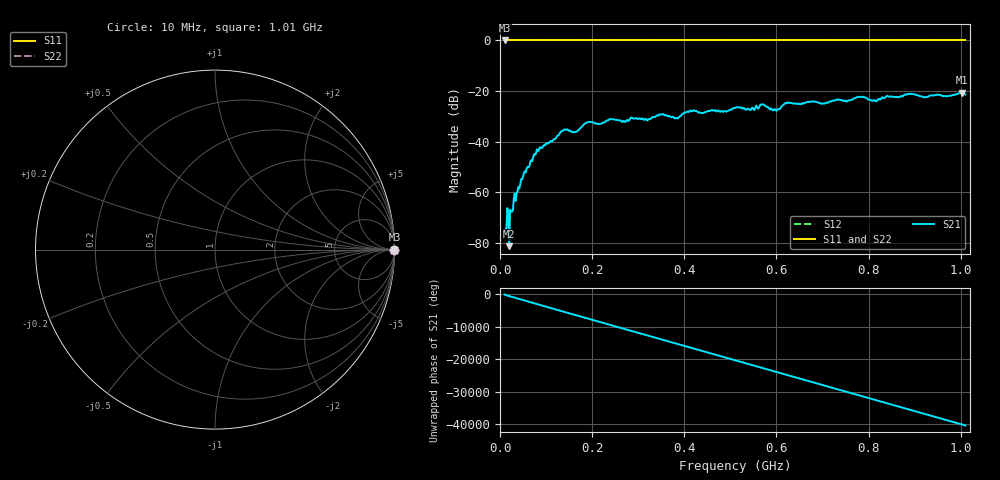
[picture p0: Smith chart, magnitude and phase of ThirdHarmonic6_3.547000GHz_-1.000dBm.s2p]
! 8/17/2025 11:41:56 AM
! C:\ANRITSUVNA\TEMP\TEMP.S2P
! CHANNEL.1
! TR.MEASUREMENT
! RAW.DATA
! RF.CORRECTION.OFF
! AVERAGING.OFF
! IF.BANDWIDTH: 5KHZ
! SWEEPTYPE:  FREQ.SWEEP(Linear)
! Reference Plane Port Info
! PORT:  PORT1  PORT2
! DISTANCE:  0  m  0  m
! TIME:  0  s  0  s
! PHASE.OFFSET:  0  deg.  0  deg.
! LOSS:  0  dB  0  dB
! REF.LOSS:  0  dB  0  dB
! REF.FREQ:  0  Hz  0  Hz
! Power Info
! POWER:  -20  dBm  -20  dBm
! EFF.POWER:  -20  dBm  -20  dBm
! SOURCE.ATTEN:  0  dB  0  dB
! TEST.ATTEN:  0  dB  0  dB
# GHZ S RI R 50.0
! FREQ.GHZ  S11RE  S11IM  S21RE  S21IM  S12RE  S12IM  S22RE  S22IM
!; PortSelection: Port_12
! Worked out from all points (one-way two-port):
!   501 points, 10 MHz to 1.01 GHz, reference 50 ohm
!   highest |S21| = -20.60 dB at 1.002 GHz (marker M1); lowest = -81.2 dB at 20 MHz (marker M2)
!   lowest |S11| = 0.0 dB at 10 MHz (marker M3)
!   |S11| at or under -10 dB: nowhere
!   |S22| runs from 0.0 to 0.0 dB; largest |S21 - S12| = 1.1
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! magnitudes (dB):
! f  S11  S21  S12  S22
! 10 MHz  0.0  -74.9  0.0  0.0
! 20 MHz  0.0  -81.2  0.0  0.0
! 24 MHz  0.0  -67.5  0.0  0.0
! 26 MHz  0.0  -67.6  0.0  0.0
! 34 MHz  0.0  -63.3  0.0  0.0
! 50 MHz  0.0  -53.7  0.0  0.0
! 78 MHz  0.0  -44.6  0.0  0.0
! 136 MHz  0.0  -35.7  0.0  0.0
! 162 MHz  0.0  -36.2  0.0  0.0
! 178 MHz  0.0  -33.9  0.0  0.0
! 344 MHz  0.0  -29.6  0.0  0.0
! 384 MHz  0.0  -30.6  0.0  0.0
! 416 MHz  0.0  -28.0  0.0  0.0
! 510 MHz  0.0  -26.6  0.0  0.0
! 570 MHz  0.0  -25.3  0.0  0.0
! 596 MHz  0.0  -27.1  0.0  0.0
! 622 MHz  0.0  -24.8  0.0  0.0
! 678 MHz  0.0  -24.1  0.0  0.0
! 814 MHz  0.0  -23.7  0.0  0.0
! 844 MHz  0.0  -22.2  0.0  0.0
! 1.002 GHz  0.0  -20.6  0.0  0.0
! 1.01 GHz  0.0  -21.3  0.0  0.0
